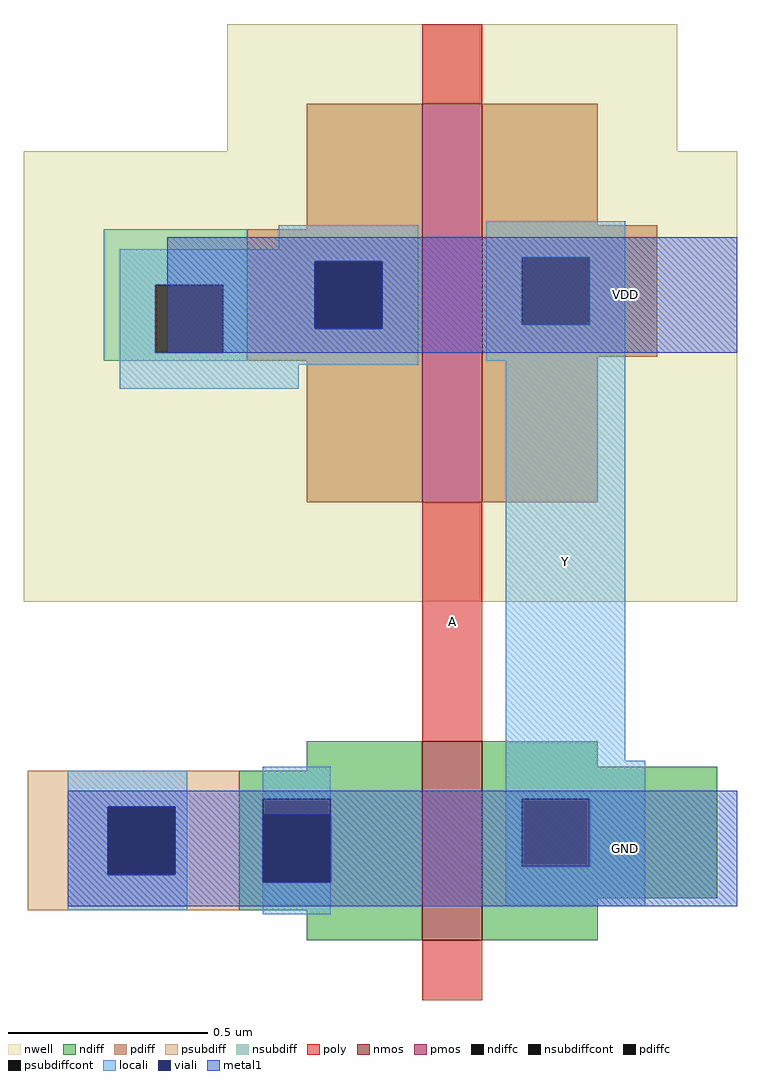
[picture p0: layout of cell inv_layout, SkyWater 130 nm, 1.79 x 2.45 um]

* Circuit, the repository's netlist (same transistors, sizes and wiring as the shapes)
* NGSPICE file created from inv_layout.ext - technology: sky130A

.subckt inv_layout VDD GND A Y
X0 Y A VDD VDD sky130_fd_pr__pfet_01v8 ad=0.3395 pd=2.88 as=0.3395 ps=2.88 w=1 l=0.15
X1 Y A GND GND sky130_fd_pr__nfet_01v8 ad=0.244 pd=2.18 as=0.2045 ps=1.92 w=0.5 l=0.15
.ends

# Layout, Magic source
magic
tech sky130A
magscale 1 2
<< nwell >>
rect 60 436 286 500
rect -42 210 316 436
<< nmos >>
rect 158 40 188 140
<< pmos >>
rect 158 260 188 460
<< ndiff >>
rect 100 125 158 140
rect 66 111 158 125
rect 66 69 78 111
rect 112 69 158 111
rect 66 55 158 69
rect 100 40 158 55
rect 188 127 246 140
rect 188 111 306 127
rect 188 77 208 111
rect 242 77 306 111
rect 188 61 306 77
rect 188 40 246 61
<< pdiff >>
rect 100 397 158 460
rect 70 381 158 397
rect 70 347 104 381
rect 138 347 158 381
rect 70 331 158 347
rect 100 260 158 331
rect 188 399 246 460
rect 188 383 276 399
rect 188 349 208 383
rect 242 349 276 383
rect 188 333 276 349
rect 188 260 246 333
<< ndiffc >>
rect 78 69 112 111
rect 208 77 242 111
<< pdiffc >>
rect 104 347 138 381
rect 208 349 242 383
<< psubdiff >>
rect -40 107 66 125
rect -40 73 0 107
rect 34 73 66 107
rect -40 55 66 73
<< nsubdiff >>
rect -2 369 70 397
rect -2 335 24 369
rect 58 335 70 369
rect -2 331 70 335
<< psubdiffcont >>
rect 0 73 34 107
<< nsubdiffcont >>
rect 24 335 58 369
<< poly >>
rect 158 460 188 500
rect 158 140 188 260
rect 158 10 188 40
<< locali >>
rect 86 387 156 399
rect 6 381 156 387
rect 6 369 104 381
rect 6 335 24 369
rect 58 347 104 369
rect 138 347 156 381
rect 58 335 156 347
rect 6 329 156 335
rect 190 383 260 401
rect 190 349 208 383
rect 242 349 260 383
rect 190 331 260 349
rect 6 317 96 329
rect 200 130 260 331
rect -20 107 40 125
rect -20 73 0 107
rect 34 73 40 107
rect -20 55 40 73
rect 78 111 112 127
rect 78 53 112 69
rect 200 111 270 130
rect 200 77 208 111
rect 242 77 270 111
rect 200 57 270 77
<< viali >>
rect 104 347 138 381
rect 0 73 34 107
rect 78 69 112 103
<< metal1 >>
rect 30 381 316 393
rect 30 347 104 381
rect 138 347 316 381
rect 30 335 316 347
rect -20 107 316 115
rect -20 73 0 107
rect 34 103 316 107
rect 34 73 78 103
rect -20 69 78 73
rect 112 69 316 103
rect -20 57 316 69
<< labels >>
rlabel metal1 260 364 260 364 0 VDD
port 1 nsew
rlabel metal1 260 86 260 86 0 GND
port 2 nsew
rlabel poly 173 200 173 200 0 A
port 3 nsew
rlabel locali 230 230 230 230 0 Y
port 4 nsew
<< end >>
